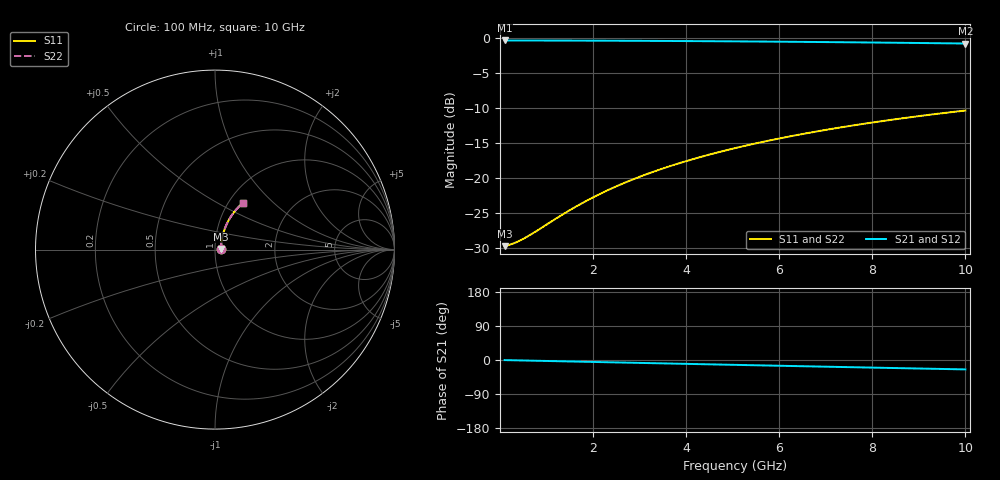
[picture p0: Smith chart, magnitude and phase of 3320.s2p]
# Hz S RI R 50.00
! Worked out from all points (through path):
!   100 points, 100 MHz to 10 GHz, reference 50 ohm
!   highest |S21| = -0.28 dB at 100 MHz (marker M1); lowest = -0.7 dB at 10 GHz (marker M2)
!   group delay of S21, straight-line fit = 6.91 ps
!   lowest |S11| = -29.8 dB at 100 MHz (marker M3), VSWR 1.07, Z = 53.3 + j0.329 ohm
!   |S11| at or under -10 dB: start of sweep to end of sweep
!   |S22| runs from -29.8 to -10.3 dB; largest |S21 - S12| = 0
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1e8  0.0323 0.00308  0.9677 -0.00433  0.9677 -0.00433  0.0323 0.00308
2e8  0.0325 0.00616  0.9675 -0.00866  0.9675 -0.00866  0.0325 0.00616
3e8  0.0327 0.00924  0.9672 -0.013  0.9672 -0.013  0.0327 0.00924
4e8  0.033 0.0123  0.967 -0.0173  0.967 -0.0173  0.033 0.0123
5e8  0.0332 0.0154  0.9668 -0.0216  0.9668 -0.0216  0.0332 0.0154
7e8  0.0337 0.0215  0.9663 -0.0302  0.9663 -0.0302  0.0337 0.0215
1.4e9  0.0361 0.0429  0.9637 -0.0604  0.9637 -0.0604  0.0361 0.0429
1.8e9  0.0381 0.055  0.9617 -0.0775  0.9617 -0.0775  0.0381 0.055
2.2e9  0.0404 0.0671  0.9592 -0.0945  0.9592 -0.0945  0.0404 0.0671
2.6e9  0.0431 0.079  0.9563 -0.1114  0.9563 -0.1114  0.0431 0.079
3e9  0.0463 0.0908  0.953 -0.1282  0.953 -0.1282  0.0463 0.0908
3.4e9  0.0498 0.1024  0.9492 -0.1448  0.9492 -0.1448  0.0498 0.1024
3.8e9  0.0537 0.1139  0.9451 -0.1613  0.9451 -0.1613  0.0537 0.1139
4.2e9  0.0581 0.1252  0.9405 -0.1776  0.9405 -0.1776  0.0581 0.1252
4.6e9  0.0628 0.1363  0.9355 -0.1937  0.9355 -0.1937  0.0628 0.1363
5.1e9  0.0691 0.1499  0.9287 -0.2135  0.9287 -0.2135  0.0691 0.1499
5.9e9  0.0805 0.1709  0.9167 -0.2446  0.9167 -0.2446  0.0805 0.1709
6.7e9  0.0932 0.1908  0.9032 -0.2746  0.9032 -0.2746  0.0932 0.1908
7.5e9  0.107 0.2097  0.8884 -0.3035  0.8884 -0.3035  0.107 0.2097
8.4e9  0.1239 0.2295  0.8704 -0.3347  0.8704 -0.3347  0.1239 0.2295
9.2e9  0.14 0.2458  0.8532 -0.3612  0.8532 -0.3612  0.14 0.2458
1e10  0.1568 0.2609  0.835 -0.3863  0.835 -0.3863  0.1568 0.2609
